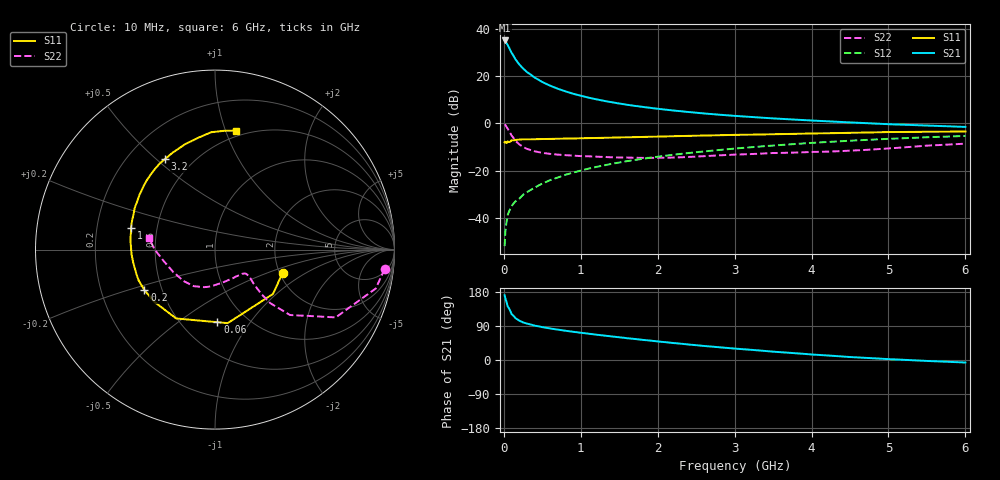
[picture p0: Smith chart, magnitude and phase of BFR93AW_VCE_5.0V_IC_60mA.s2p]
! Infineon Technologies  Discrete & RF Semiconductors
! BFR93AW
! VCE =  5.0 V,  IC =  60 mA
! Common Emitter S-Parameters:  Jan 2017
# GHz  S  MA  R  50
!  f  S11  S21  S12  S22
! GHz  MAG  ANG  MAG  ANG  MAG  ANG  MAG  ANG
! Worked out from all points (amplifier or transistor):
!   77 points, 10 MHz to 6 GHz, reference 50 ohm
!   highest |S21| = 35.1 dB at 10 MHz (marker M1)
!   |S21| within 3 dB of that: start of sweep to 66.91 MHz
!   unconditionally stable (mu >= 1): 429.9 MHz to 2.072 GHz
!   at 130 MHz: K = 0.64, MSG = 31.1 dB, |S12| = -33.8 dB
!   at 2.2 GHz: K = 0.99, MSG = 9.4 dB, |S12| = -13.3 dB
!   at 6 GHz: K = 0.89, MSG = 1.9 dB, |S12| = -5.3 dB
!   S11 on the Smith chart (normalised r, x): 10 MHz: 2.07, -0.64; 60 MHz: 0.74, -0.71; 200 MHz: 0.40, -0.23; 1 GHz: 0.35, +0.11; 3.2 GHz: 0.35, +0.53; 6 GHz: 0.45, +1.08
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0.01  0.3983 -19.1  57.07 170.9  0.0025 79.3  0.9514 -6.5
0.02  0.4069 -37.3  55.89 162.5  0.0051 81.9  0.9217 -13.6
0.05  0.4158 -80.2  45.76 141.5  0.0113 65.0  0.7718 -29.3
0.06  0.4047 -88.1  42.55 138.6  0.0126 63.8  0.7263 -31.1
0.1  0.4403 -119.4  31.41 121.2  0.0176 60.7  0.5541 -41.1
0.15  0.4458 -138.9  22.9 110.6  0.0222 60.9  0.4285 -44.1
0.2  0.4535 -150.2  17.8 104.0  0.0253 64.7  0.3593 -43.8
0.25  0.4588 -157.9  14.53 99.2  0.0307 65.1  0.3164 -42.6
0.3  0.4586 -163.2  12.22 96.0  0.0347 67.0  0.2877 -41.4
0.4  0.4613 -170.9  9.327 90.7  0.0434 70.0  0.2557 -39.2
0.5  0.4655 -176.6  7.505 86.7  0.0529 71.2  0.237 -38.1
0.6  0.4681 178.6  6.301 83.3  0.0625 71.8  0.2257 -37.8
0.7  0.4721 175.1  5.424 80.2  0.0711 72.7  0.2178 -38.0
1  0.4835 165.5  3.849 71.9  0.0999 72.4  0.2025 -41.8
1.1  0.487 162.6  3.516 69.5  0.1097 71.8  0.2003 -43.8
1.5  0.5036 152.7  2.63 60.0  0.148 69.6  0.1891 -53.9
2.1  0.5286 139.7  1.954 47.0  0.206 64.7  0.1871 -75.0
3.1  0.5729 120.8  1.406 28.6  0.3013 55.2  0.2201 -109.0
3.2  0.576 119.1  1.372 27.1  0.3105 54.1  0.2232 -111.9
4.1  0.6137 104.3  1.128 13.3  0.3939 44.6  0.2493 -138.6
5.1  0.6556 90.6  0.947 1.4  0.4772 33.5  0.3018 -170.8
6  0.6726 80.2  0.841 -6.7  0.541 23.3  0.3715 170.4
